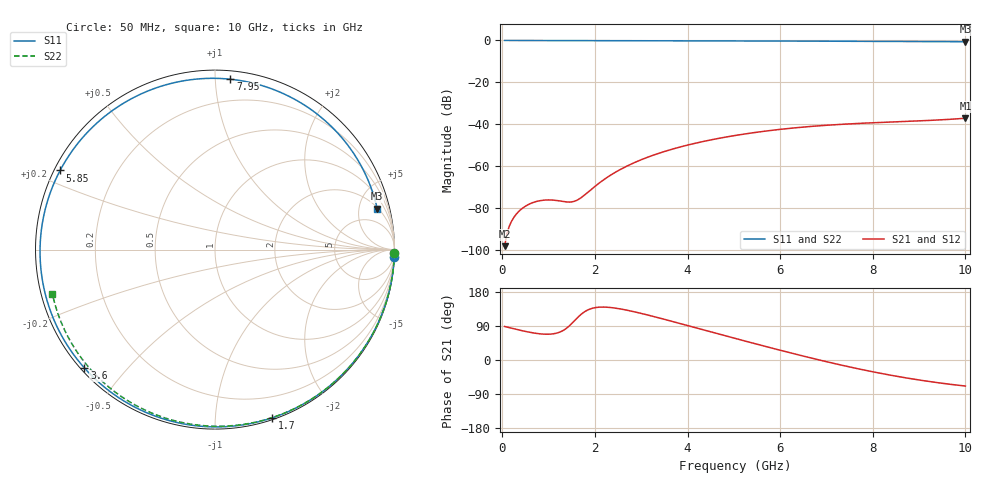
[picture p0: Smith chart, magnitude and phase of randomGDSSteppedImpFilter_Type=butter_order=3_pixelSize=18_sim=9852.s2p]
! freq	dB(S11)	phase(S11)	dB(S12)	phase(S12)
!  dB(S21)	phase(S21)	dB(S22)	phase(S22)
!S-par simulation data
#  GHz  S  DB  R 50
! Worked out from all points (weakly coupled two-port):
!   200 points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, 50 MHz to 10 GHz, reference 50 ohm
!   highest |S21| = -37.13 dB at 10 GHz (marker M1); lowest = -98.2 dB at 50 MHz (marker M2)
!   lowest |S11| = -0.6 dB at 10 GHz (marker M3), VSWR 28.41, Z = 107 + j372 ohm
!   |S11| at or under -10 dB: nowhere
!   |S22| runs from -0.5 to 0.0 dB; largest |S21 - S12| = 0
!   S11 on the Smith chart (normalised r, x): 50 MHz: 0, -52; 1.7 GHz: 0.01, -1.40; 3.6 GHz: 0.01, -0.39; 5.85 GHz: 0.02, +0.24; 7.95 GHz: 0.05, +1.09; 10 GHz: 2.15, +7.45
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0.05  -0.00 -2.2  -98.21 88.4  -98.21 88.4  -0.00 -1.0
0.45  -0.03 -19.6  -79.86 76.7  -79.86 76.7  -0.01 -8.6
0.8  -0.04 -34.5  -76.55 69.2  -76.55 69.2  -0.02 -15.2
1.05  -0.06 -45.0  -76.15 68.4  -76.15 68.4  -0.03 -19.9
1.45  -0.08 -61.3  -77.16 90.3  -77.16 90.3  -0.04 -27.4
1.7  -0.09 -71.2  -75.09 120.3  -75.09 120.3  -0.04 -32.0
1.75  -0.09 -73.1  -74.27 125.1  -74.27 125.1  -0.04 -32.9
2.15  -0.10 -88.2  -67.13 139.7  -67.13 139.7  -0.05 -40.2
2.5  -0.12 -100.8  -62.19 135.8  -62.19 135.8  -0.06 -46.5
2.95  -0.13 -116.4  -57.39 124.4  -57.39 124.4  -0.07 -54.5
3.4  -0.15 -131.4  -53.73 110.6  -53.73 110.6  -0.08 -62.3
3.6  -0.16 -137.8  -52.35 104.1  -52.35 104.1  -0.09 -65.7
4.35  -0.19 -161.3  -48.17 79.3  -48.17 79.3  -0.11 -78.3
5.05  -0.23 177.4  -45.28 56.3  -45.28 56.3  -0.14 -89.7
5.85  -0.27 152.9  -42.82 30.5  -42.82 30.5  -0.18 -102.3
6.7  -0.33 126.3  -40.98 4.3  -40.98 4.3  -0.22 -115.3
7.35  -0.38 105.1  -40.01 -14.3  -40.01 -14.3  -0.27 -125.1
7.95  -0.42 84.9  -39.34 -29.9  -39.34 -29.9  -0.32 -134.0
8.35  -0.45 71.1  -38.98 -39.3  -38.98 -39.3  -0.36 -139.9
8.8  -0.48 55.4  -38.58 -48.9  -38.58 -48.9  -0.40 -146.6
9.25  -0.52 39.8  -38.15 -57.3  -38.15 -57.3  -0.45 -153.4
10  -0.61 14.2  -37.13 -68.7  -37.13 -68.7  -0.55 -164.8
